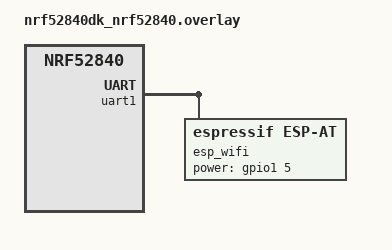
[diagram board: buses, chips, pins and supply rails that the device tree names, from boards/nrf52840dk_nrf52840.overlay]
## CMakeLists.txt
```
# SPDX-License-Identifier: Apache-2.0

cmake_minimum_required(VERSION 3.20.0)

find_package(Zephyr REQUIRED HINTS $ENV{ZEPHYR_BASE})
project(hello)

target_sources(app PRIVATE src/main.c)
```

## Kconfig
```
# Copyright (c) 2021 Golioth, Inc.
# SPDX-License-Identifier: Apache-2.0

mainmenu "Golioth application options"

config NET_BUF_TX_COUNT
	default 32 if GOLIOTH_AUTH_METHOD_CERT && WIFI_ESP_AT

source "Kconfig.zephyr"
```

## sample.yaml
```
sample:
  description: Say Hello to Golioth server
  name: hello 123
common:
  harness: console
  harness_config:
    type: one_line
    regex:
      - "(.*)Client connected!"
  tags: golioth socket goliothd
tests:
  sample.golioth.hello.psk.fast.default:
    platform_allow: >
      esp32
      mimxrt1060_evkb
      nrf52840dk_nrf52840
      qemu_x86
  sample.golioth.hello.psk.fast.gcm:
    platform_allow: >
      esp32
      mimxrt1060_evkb
      nrf52840dk_nrf52840
      qemu_x86
    extra_configs:
      - CONFIG_MBEDTLS_CIPHER_GCM_ENABLED=y
      - CONFIG_MBEDTLS_CIPHER_CCM_ENABLED=n
      - CONFIG_MBEDTLS_CIPHER_MODE_CBC_ENABLED=n
  sample.golioth.hello.psk.fast.ccm:
    platform_allow: >
      esp32
      mimxrt1060_evkb
      nrf52840dk_nrf52840
      qemu_x86
    extra_configs:
      - CONFIG_MBEDTLS_CIPHER_GCM_ENABLED=n
      - CONFIG_MBEDTLS_CIPHER_CCM_ENABLED=y
      - CONFIG_MBEDTLS_CIPHER_MODE_CBC_ENABLED=n
  sample.golioth.hello.psk.fast.cbc:
    platform_allow: >
      esp32
      mimxrt1060_evkb
      nrf52840dk_nrf52840
      qemu_x86
    extra_configs:
      - CONFIG_MBEDTLS_CIPHER_GCM_ENABLED=n
      - CONFIG_MBEDTLS_CIPHER_CCM_ENABLED=n
      - CONFIG_MBEDTLS_CIPHER_MODE_CBC_ENABLED=y
  sample.golioth.hello.psk.fast.ccm_8:
    platform_allow: >
      esp32
      mimxrt1060_evkb
      nrf52840dk_nrf52840
      qemu_x86
    extra_configs:
      - CONFIG_MBEDTLS_CIPHER_GCM_ENABLED=n
      - CONFIG_MBEDTLS_CIPHER_CCM_ENABLED=y
      - CONFIG_MBEDTLS_CIPHER_MODE_CBC_ENABLED=n
      - CONFIG_GOLIOTH_CIPHERSUITES="TLS_PSK_WITH_AES_128_CCM_8"
  sample.golioth.hello.psk.long_start:
    platform_allow: nrf9160dk_nrf9160_ns
    timeout: 120
  sample.golioth.hello.cert.buildonly:
    build_only: true
    extra_configs:
      - CONFIG_GOLIOTH_AUTH_METHOD_CERT=y
      # Make it build by providing path that can be resolved
      - CONFIG_GOLIOTH_SYSTEM_CLIENT_CRT_PATH="prj.conf"
      - CONFIG_GOLIOTH_SYSTEM_CLIENT_KEY_PATH="prj.conf"
  sample.golioth.hello.cert.runtime:
    filter: >-
      CONFIG_GOLIOTH_SYSTEM_CLIENT_CRT_PATH and
      CONFIG_GOLIOTH_SYSTEM_CLIENT_KEY_PATH
    extra_configs:
      - CONFIG_GOLIOTH_AUTH_METHOD_CERT=y
```

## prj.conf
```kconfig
CONFIG_GOLIOTH_SAMPLES_COMMON=y

# Logging
CONFIG_NET_LOG=y

# Network Shell
CONFIG_NET_SHELL=y

# Application
CONFIG_LOG_BACKEND_GOLIOTH=y
```

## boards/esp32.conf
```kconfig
CONFIG_WIFI=y
CONFIG_HEAP_MEM_POOL_SIZE=98304

CONFIG_NET_L2_ETHERNET=y

CONFIG_NET_DHCPV4=y

CONFIG_MBEDTLS_ENTROPY_ENABLED=y
CONFIG_MBEDTLS_KEY_EXCHANGE_ECDHE_ECDSA_ENABLED=y
CONFIG_MBEDTLS_ECP_ALL_ENABLED=y

CONFIG_ESP32_WIFI_STA_AUTO_DHCPV4=y

CONFIG_NET_L2_WIFI_SHELL=y
CONFIG_GOLIOTH_SAMPLE_WIFI=y
```

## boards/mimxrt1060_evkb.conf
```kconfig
CONFIG_GOLIOTH_SAMPLE_DHCP_BIND=y
CONFIG_NET_L2_ETHERNET=y
CONFIG_NET_DHCPV4=y
```

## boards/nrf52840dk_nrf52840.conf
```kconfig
CONFIG_WIFI=y
CONFIG_WIFI_ESP_AT=y
CONFIG_WIFI_ESP_AT_MDM_RX_BUF_COUNT=40

CONFIG_NET_L2_WIFI_SHELL=y
CONFIG_GOLIOTH_SAMPLE_WIFI=y
```

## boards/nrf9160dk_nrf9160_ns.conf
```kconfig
#
# Copyright (c) 2021 Golioth, Inc.
#
# SPDX-License-Identifier: Apache-2.0

# General config
CONFIG_HEAP_MEM_POOL_SIZE=4096
CONFIG_NEWLIB_LIBC=y

# Networking
CONFIG_NET_NATIVE=n
CONFIG_NET_SOCKETS_OFFLOAD=y

# Increase native TLS socket implementation, so that it is chosen instead of
# offloaded nRF91 sockets
CONFIG_NET_SOCKETS_TLS_PRIORITY=35

# LTE link control
CONFIG_LTE_LINK_CONTROL=y
CONFIG_LTE_AUTO_INIT_AND_CONNECT=y

# Modem library
CONFIG_NRF_MODEM_LIB=y

# Disable options y-selected by NCS for no good reason
CONFIG_MBEDTLS_KEY_EXCHANGE_DHE_PSK_ENABLED=n
CONFIG_MBEDTLS_KEY_EXCHANGE_DHE_RSA_ENABLED=n
```

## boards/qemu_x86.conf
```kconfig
# Kernel options
CONFIG_ENTROPY_GENERATOR=y
CONFIG_TEST_RANDOM_GENERATOR=y

# Static networking
CONFIG_NET_CONFIG_LOG_LEVEL_DBG=y
CONFIG_NET_CONFIG_SETTINGS=y
CONFIG_NET_CONFIG_NEED_IPV4=y
CONFIG_NET_CONFIG_MY_IPV4_ADDR="192.0.2.1"
CONFIG_NET_CONFIG_MY_IPV4_GW="192.0.2.2"
CONFIG_NET_CONFIG_PEER_IPV4_ADDR="192.0.2.2"
```

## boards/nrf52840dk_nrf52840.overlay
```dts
/*
 * Copyright (C) 2021 Golioth, Inc.
 *
 * SPDX-License-Identifier: Apache-2.0
 */

&uart1_default {
	cts-rts {
		psels = <NRF_PSEL(UART_CTS, 1, 3)>,
			<NRF_PSEL(UART_RTS, 1, 4)>;
	};
};

&uart1_sleep {
	cts-rts {
		psels = <NRF_PSEL(UART_CTS, 1, 3)>,
			<NRF_PSEL(UART_RTS, 1, 4)>;
		low-power-enable;
	};
};

&uart1 {
	status = "okay";
	hw-flow-control;

	esp_wifi: esp-wifi {
		compatible = "espressif,esp-at";
		power-gpios = <&gpio1 5 (GPIO_ACTIVE_HIGH | GPIO_OPEN_DRAIN)>;
		status = "okay";
	};
};
```

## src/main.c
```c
/*
 * Copyright (c) 2021 Golioth, Inc.
 *
 * SPDX-License-Identifier: Apache-2.0
 */

#include <zephyr/logging/log.h>
LOG_MODULE_REGISTER(golioth_hello, LOG_LEVEL_DBG);

#include <net/golioth/system_client.h>
#include <samples/common/net_connect.h>
#include <zephyr/net/coap.h>

static struct golioth_client *client = GOLIOTH_SYSTEM_CLIENT_GET();

static K_SEM_DEFINE(connected, 0, 1);

static void golioth_on_connect(struct golioth_client *client)
{
	k_sem_give(&connected);
}

void main(void)
{
	int counter = 0;
	int err;

	LOG_DBG("Start Hello sample");

	if (IS_ENABLED(CONFIG_GOLIOTH_SAMPLES_COMMON)) {
		net_connect();
	}

	client->on_connect = golioth_on_connect;
	golioth_system_client_start();

	k_sem_take(&connected, K_FOREVER);

	while (true) {
		LOG_INF("Sending hello! %d", counter);

		err = golioth_send_hello(client);
		if (err) {
			LOG_WRN("Failed to send hello!");
		}
		++counter;
		k_sleep(K_SECONDS(5));
	}
}
```
